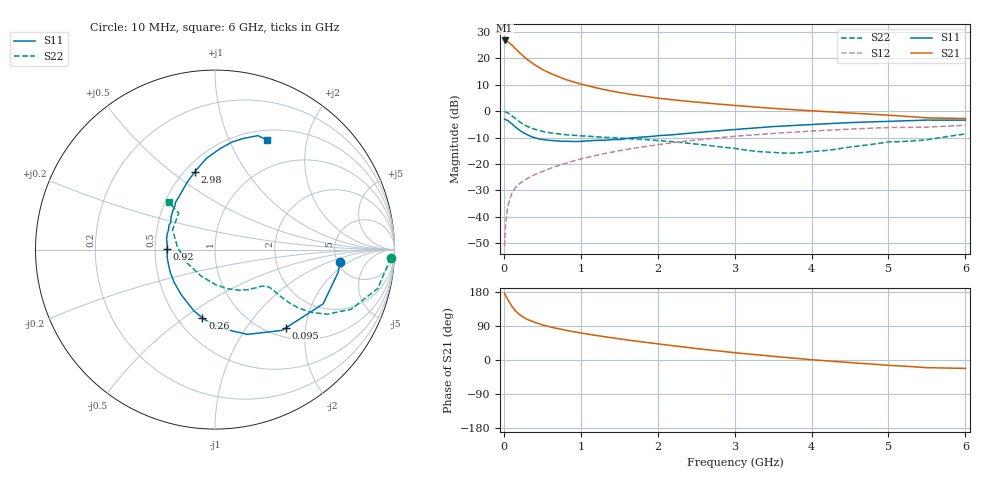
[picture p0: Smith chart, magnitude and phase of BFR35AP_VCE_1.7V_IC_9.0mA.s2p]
! Infineon Technologies  Discrete & RF Semiconductors
! BFR35AP
! VCE =  1.7 V,  IC =  9.0 mA
! Common Emitter S-Parameters:  Nov 2015
# GHz  S  MA  R  50
!  f  S11  S21  S12  S22
! GHz  MAG  ANG  MAG  ANG  MAG  ANG  MAG  ANG
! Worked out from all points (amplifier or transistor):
!   210 points, 10 MHz to 6 GHz, reference 50 ohm
!   highest |S21| = 26.7 dB at 10 MHz (marker M1)
!   |S21| within 3 dB of that: start of sweep to 146.3 MHz
!   unconditionally stable (mu >= 1): 556.5 MHz to 3.999 GHz; 5.362 GHz to 5.712 GHz
!   at 185 MHz: K = 0.55, MSG = 25.3 dB, |S12| = -27.9 dB
!   at 1.52 GHz: K = 1.14, MAG = 8.7 dB, |S12| = -14.9 dB
!   at 6 GHz: K = 0.99, MSG = 1.3 dB, |S12| = -5.4 dB
!   S11 on the Smith chart (normalised r, x): 10 MHz: 5.30, -1.46; 95 MHz: 1.18, -1.57; 260 MHz: 0.66, -0.59; 920 MHz: 0.58, +0.00; 2.98 GHz: 0.56, +0.61; 6 GHz: 0.62, +1.39
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0.01  0.702 -5.7  21.7 175.8  0.0028 89.7  0.9797 -2.7
0.02  0.6972 -10.6  21.36 171.4  0.0062 86.1  0.9636 -5.6
0.05  0.6743 -26.6  20.61 159.6  0.0152 79.0  0.9326 -13.4
0.095  0.5884 -47.7  18.28 144.7  0.0258 69.1  0.8369 -22.6
0.1  0.5845 -50.4  18.11 142.8  0.027 68.5  0.8277 -23.7
0.15  0.5055 -69.1  15.18 129.5  0.0358 62.8  0.7197 -30.0
0.2  0.4413 -85.1  12.91 120.2  0.0423 60.2  0.6344 -33.4
0.26  0.3875 -100.4  10.75 111.8  0.0484 59.1  0.5559 -35.1
0.3  0.3617 -108.8  9.569 107.4  0.0528 59.3  0.5177 -35.6
0.4  0.3146 -126.6  7.528 99.3  0.0628 59.5  0.4554 -35.6
0.5  0.2915 -141.4  6.147 92.5  0.0721 60.7  0.4141 -35.0
0.6  0.2797 -152.9  5.214 87.3  0.0824 61.6  0.3891 -34.8
0.7  0.2725 -161.9  4.533 82.7  0.0927 62.1  0.3728 -34.7
0.92  0.2662 179.5  3.508 74.1  0.1161 61.7  0.3479 -35.7
1.02  0.2697 172.1  3.198 70.6  0.1265 61.6  0.3402 -36.6
1.4  0.2904 151.8  2.395 58.8  0.1675 59.4  0.3164 -41.8
2.02  0.3447 129.2  1.752 42.0  0.2341 53.4  0.2764 -54.3
2.98  0.4478 104.5  1.29 19.7  0.3328 41.5  0.199 -87.0
3.1  0.4615 102.2  1.249 17.4  0.3434 39.7  0.1878 -93.1
4.1  0.5701 86.0  0.995 -0.7  0.4285 26.4  0.1758 -161.3
5.1  0.6482 74.1  0.822 -15.1  0.4915 12.5  0.2636 150.6
6  0.6761 64.5  0.725 -22.2  0.5401 2.7  0.3705 134.2
